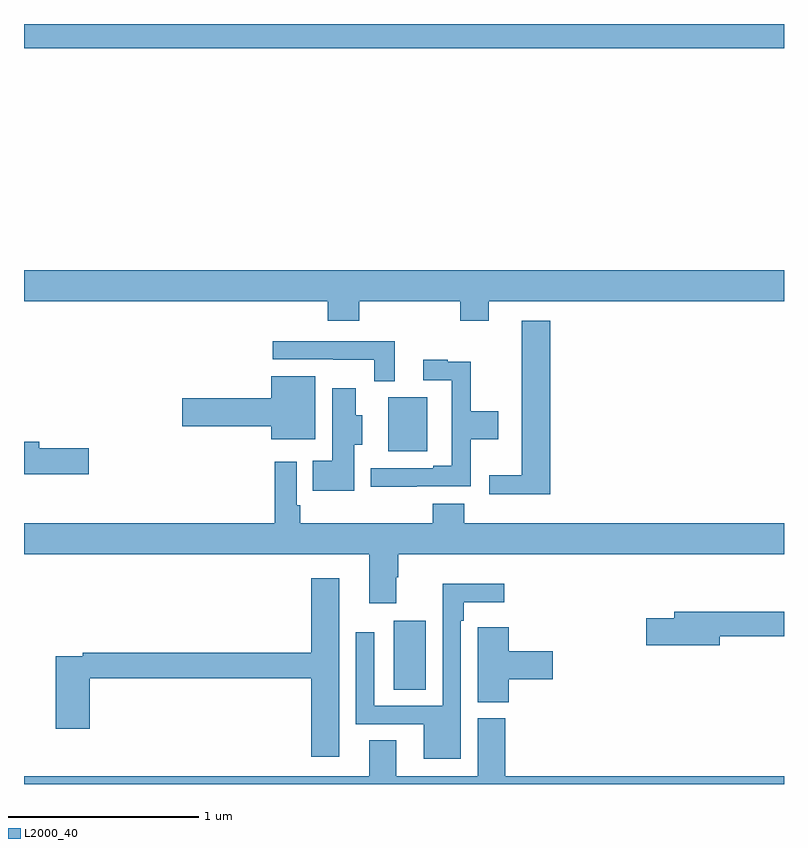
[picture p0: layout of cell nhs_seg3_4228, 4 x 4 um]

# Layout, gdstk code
import gdstk
lib = gdstk.Library(unit=1e-6, precision=1e-09)
def R(c, l, rs):  # rectangles x0, y0, x1, y1
    for r in rs: c.add(gdstk.rectangle(r[:2], r[2:], *l))
def P(c, l, *ps):  # polygons
    for p in ps: c.add(gdstk.Polygon(p, *l))
L2000_40 = (2000, 40)

nhs_seg3_4228 = lib.new_cell('nhs_seg3_4228')
R(nhs_seg3_4228, L2000_40, [(336.947,674.896,337.114,675.259), (336.917,676.151,337.123,676.435), (335,678.272,339,678.4)])
P(nhs_seg3_4228, L2000_40, [(336.764,676.94),(337.295,676.94),(337.295,676.838),(337.447,676.838),(337.447,676.94),(339,676.94),(339,677.104),(335,677.104),(335,676.94),(336.599,676.94),(336.599,676.838),(336.764,676.838)],
  [(337.769,676.837),(337.619,676.837),(337.619,676.025),(337.449,676.025),(337.449,675.926),(337.769,675.926)],
  [(336.952,676.731),(336.309,676.731),(336.309,676.635),(336.628,676.635),(336.628,676.634),(336.843,676.634),(336.843,676.52),(336.952,676.52)],
  [(337.067,675.966),(337.352,675.966),(337.352,676.214),(337.495,676.214),(337.495,676.362),(337.352,676.362),(337.352,676.622),(337.229,676.622),(337.229,676.633),(337.101,676.633),(337.101,676.524),(337.251,676.524),(337.251,676.075),(337.154,676.075),(337.154,676.062),(336.825,676.062),(336.825,675.965),(337.067,675.965)],
  [(336.532,676.546),(336.302,676.546),(336.302,676.43),(335.832,676.43),(335.832,676.283),(336.302,676.283),(336.302,676.214),(336.532,676.214)],
  [(336.739,676.186),(336.781,676.186),(336.781,676.341),(336.745,676.341),(336.745,676.483),(336.623,676.483),(336.623,676.102),(336.52,676.102),(336.52,675.944),(336.739,675.944)],
  [(335.341,676.166),(335.08,676.166),(335.08,676.202),(335,676.202),(335,676.031),(335.341,676.031)],
  [(336.958,675.488),(336.971,675.488),(336.971,675.608),(339,675.608),(339,675.772),(337.316,675.772),(337.316,675.874),(337.151,675.874),(337.151,675.772),(336.455,675.772),(336.455,675.868),(336.435,675.868),(336.435,676.096),(336.319,676.096),(336.319,675.772),(335,675.772),(335,675.608),(336.818,675.608),(336.818,675.351),(336.958,675.351)],
  [(336.658,675.484),(336.512,675.484),(336.512,675.092),(335.308,675.092),(335.308,675.072),(335.167,675.072),(335.167,674.691),(335.345,674.691),(335.345,674.956),(336.512,674.956),(336.512,674.544),(336.658,674.544)],
  [(337.299,675.26),(337.315,675.26),(337.315,675.356),(337.528,675.356),(337.528,675.454),(337.203,675.454),(337.203,674.811),(336.843,674.811),(336.843,675.199),(336.747,675.199),(336.747,674.715),(337.103,674.715),(337.103,674.534),(337.299,674.534)],
  [(338.662,675.178),(339,675.178),(339,675.307),(338.423,675.307),(338.423,675.273),(338.274,675.273),(338.274,675.131),(338.662,675.131)],
  [(337.55,674.951),(337.783,674.951),(337.783,675.098),(337.55,675.098),(337.55,675.226),(337.389,675.226),(337.389,675.113),(337.388,675.113),(337.388,674.83),(337.55,674.83)],
  [(337.388,674.745),(337.388,674.44),(336.958,674.44),(336.958,674.63),(336.818,674.63),(336.818,674.44),(335,674.44),(335,674.4),(339,674.4),(339,674.44),(337.532,674.44),(337.532,674.745)])

lib.write_gds('nhs_seg3_4228.gds')
